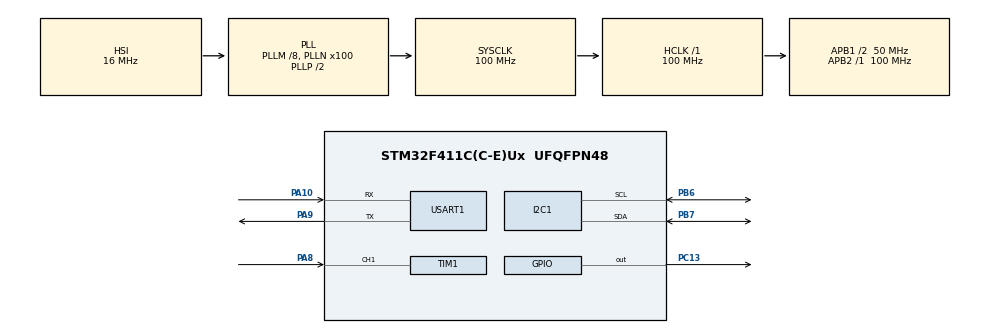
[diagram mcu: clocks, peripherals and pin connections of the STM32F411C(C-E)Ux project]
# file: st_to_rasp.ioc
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FREERTOS.Mutexes01=I2CMutex,Dynamic,NULL
FREERTOS.Tasks01=defaultTask,0,128,StartDefaultTask,Default,NULL,Dynamic,NULL,NULL;IrReadTask,0,128,IRTask_Start,Default,NULL,Dynamic,NULL,NULL;I2CSendTask,0,128,I2CSendTask_Start,Default,NULL,Dynamic,NULL,NULL
FREERTOS.configUSE_NEWLIB_REENTRANT=1
I2C1.OwnAddress=0x10
Mcu.Family=STM32F4
Mcu.Name=STM32F411C(C-E)Ux
Mcu.Package=UFQFPN48
NVIC.I2C1_ER_IRQn=true\:5\:0\:false\:false\:true\:true\:true\:true\:true
NVIC.I2C1_EV_IRQn=true\:5\:0\:false\:false\:true\:true\:true\:true\:true
NVIC.PriorityGroup=NVIC_PRIORITYGROUP_4
NVIC.TIM1_CC_IRQn=true\:5\:0\:false\:false\:true\:true\:true\:true\:true
PA10.Mode=Asynchronous
PA10.Signal=USART1_RX
PA8.Signal=S_TIM1_CH1
PA9.Mode=Asynchronous
PA9.Signal=USART1_TX
PB6.Mode=I2C
PB6.Signal=I2C1_SCL
PB7.Mode=I2C
PB7.Signal=I2C1_SDA
PC13-ANTI_TAMP.Signal=GPIO_Output
ProjectManager.HeapSize=0x200
ProjectManager.StackSize=0x400
ProjectManager.TargetToolchain=STM32CubeIDE
RCC.48MHZClocksFreq_Value=50000000
RCC.AHBFreq_Value=100000000
RCC.APB1CLKDivider=RCC_HCLK_DIV2
RCC.APB1Freq_Value=50000000
RCC.APB1TimFreq_Value=100000000
RCC.APB2Freq_Value=100000000
RCC.APB2TimFreq_Value=100000000
RCC.CortexFreq_Value=100000000
RCC.HCLKFreq_Value=100000000
RCC.HSE_VALUE=25000000
RCC.HSI_VALUE=16000000
RCC.LSE_VALUE=32768
RCC.PLLM=8
RCC.PLLN=100
RCC.SYSCLKFreq_VALUE=100000000
RCC.SYSCLKSource=RCC_SYSCLKSOURCE_PLLCLK
RCC.VCOOutputFreq_Value=200000000
SH.S_TIM1_CH1.0=TIM1_CH1,Input_Capture1_from_TI1
TIM1.Channel-Input_Capture1_from_TI1=TIM_CHANNEL_1
TIM1.Prescaler=10000-1
USART1.VirtualMode=VM_ASYNC
VP_FREERTOS_VS_CMSIS_V1.Mode=CMSIS_V1
VP_TIM1_VS_ClockSourceINT.Mode=Internal
board=custom

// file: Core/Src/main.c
/* USER CODE BEGIN Header */
/**
  ******************************************************************************
  * @file           : main.c
  * @brief          : Main program body
  ******************************************************************************
  * @attention
  *
  * Copyright (c) 2023 STMicroelectronics.
  * All rights reserved.
  *
  * This software is licensed under terms that can be found in the LICENSE file
  * in the root directory of this software component.
  * If no LICENSE file comes with this software, it is provided AS-IS.
  *
  ******************************************************************************
  */
/* USER CODE END Header */
#include "main.h"
#include "cmsis_os.h"

I2C_HandleTypeDef hi2c1;

TIM_HandleTypeDef htim1;

UART_HandleTypeDef huart1;

osThreadId defaultTaskHandle;
osThreadId IrReadTaskHandle;
osThreadId I2CSendTaskHandle;
osMutexId I2CMutexHandle;
/* USER CODE BEGIN PV */
#define TXBUFFSIZE 1
volatile uint8_t rx_buff;
uint8_t tx_buff=0;
uint8_t erro=0;
uint32_t timerCount=0;
uint32_t ledState=0;

HAL_StatusTypeDef sig = 0x0;
void ResetI2C(I2C_HandleTypeDef* rev_i2c){
	HAL_I2C_DeInit(rev_i2c);
	HAL_I2C_Init(rev_i2c);
}

/* USER CODE END PV */

void SystemClock_Config(void);
static void MX_GPIO_Init(void);
static void MX_USART1_UART_Init(void);
static void MX_I2C1_Init(void);
static void MX_TIM1_Init(void);
void StartDefaultTask(void const * argument);
void IRTask_Start(void const * argument);
void I2CSendTask_Start(void const * argument);

int main(void)
{

  /* MCU Configuration--------------------------------------------------------*/

  /* Reset of all peripherals, Initializes the Flash interface and the Systick. */
  HAL_Init();

  /* Configure the system clock */
  SystemClock_Config();

  /* Initialize all configured peripherals */
  MX_GPIO_Init();
  MX_USART1_UART_Init();
  MX_I2C1_Init();
  MX_TIM1_Init();

  /* Create the mutex(es) */
  /* definition and creation of I2CMutex */
  osMutexDef(I2CMutex);
  I2CMutexHandle = osMutexCreate(osMutex(I2CMutex));

  /* Create the thread(s) */
  /* definition and creation of defaultTask */
  osThreadDef(defaultTask, StartDefaultTask, osPriorityNormal, 0, 128);
  defaultTaskHandle = osThreadCreate(osThread(defaultTask), NULL);

  /* definition and creation of IrReadTask */
  osThreadDef(IrReadTask, IRTask_Start, osPriorityNormal, 0, 128);
  IrReadTaskHandle = osThreadCreate(osThread(IrReadTask), NULL);

  /* definition and creation of I2CSendTask */
  osThreadDef(I2CSendTask, I2CSendTask_Start, osPriorityNormal, 0, 128);
  I2CSendTaskHandle = osThreadCreate(osThread(I2CSendTask), NULL);

  /* Start scheduler */
  osKernelStart();

  /* We should never get here as control is now taken by the scheduler */
  /* Infinite loop */
  while (1)
  {

  }
}

void SystemClock_Config(void)
{
  RCC_OscInitTypeDef RCC_OscInitStruct = {0};
  RCC_ClkInitTypeDef RCC_ClkInitStruct = {0};

  /** Configure the main internal regulator output voltage
  */
  __HAL_RCC_PWR_CLK_ENABLE();
  __HAL_PWR_VOLTAGESCALING_CONFIG(PWR_REGULATOR_VOLTAGE_SCALE1);

  /** Initializes the RCC Oscillators according to the specified parameters
  * in the RCC_OscInitTypeDef structure.
  */
  RCC_OscInitStruct.OscillatorType = RCC_OSCILLATORTYPE_HSI;
  RCC_OscInitStruct.HSIState = RCC_HSI_ON;
  RCC_OscInitStruct.HSICalibrationValue = RCC_HSICALIBRATION_DEFAULT;
  RCC_OscInitStruct.PLL.PLLState = RCC_PLL_ON;
  RCC_OscInitStruct.PLL.PLLSource = RCC_PLLSOURCE_HSI;
  RCC_OscInitStruct.PLL.PLLM = 8;
  RCC_OscInitStruct.PLL.PLLN = 100;
  RCC_OscInitStruct.PLL.PLLP = RCC_PLLP_DIV2;
  RCC_OscInitStruct.PLL.PLLQ = 4;
  if (HAL_RCC_OscConfig(&RCC_OscInitStruct) != HAL_OK)
  {
    Error_Handler();
  }

  /** Initializes the CPU, AHB and APB buses clocks
  */
  RCC_ClkInitStruct.ClockType = RCC_CLOCKTYPE_HCLK|RCC_CLOCKTYPE_SYSCLK
                              |RCC_CLOCKTYPE_PCLK1|RCC_CLOCKTYPE_PCLK2;
  RCC_ClkInitStruct.SYSCLKSource = RCC_SYSCLKSOURCE_PLLCLK;
  RCC_ClkInitStruct.AHBCLKDivider = RCC_SYSCLK_DIV1;
  RCC_ClkInitStruct.APB1CLKDivider = RCC_HCLK_DIV2;
  RCC_ClkInitStruct.APB2CLKDivider = RCC_HCLK_DIV1;

  if (HAL_RCC_ClockConfig(&RCC_ClkInitStruct, FLASH_LATENCY_3) != HAL_OK)
  {
    Error_Handler();
  }
}

static void MX_I2C1_Init(void)
{

  hi2c1.Instance = I2C1;
  hi2c1.Init.ClockSpeed = 100000;
  hi2c1.Init.DutyCycle = I2C_DUTYCYCLE_2;
  hi2c1.Init.OwnAddress1 = 32;
  hi2c1.Init.AddressingMode = I2C_ADDRESSINGMODE_7BIT;
  hi2c1.Init.DualAddressMode = I2C_DUALADDRESS_DISABLE;
  hi2c1.Init.OwnAddress2 = 0;
  hi2c1.Init.GeneralCallMode = I2C_GENERALCALL_DISABLE;
  hi2c1.Init.NoStretchMode = I2C_NOSTRETCH_DISABLE;
  if (HAL_I2C_Init(&hi2c1) != HAL_OK)
  {
    Error_Handler();
  }

}

static void MX_TIM1_Init(void)
{

  TIM_ClockConfigTypeDef sClockSourceConfig = {0};
  TIM_MasterConfigTypeDef sMasterConfig = {0};
  TIM_IC_InitTypeDef sConfigIC = {0};

  htim1.Instance = TIM1;
  htim1.Init.Prescaler = 10000-1;
  htim1.Init.CounterMode = TIM_COUNTERMODE_UP;
  htim1.Init.Period = 65535;
  htim1.Init.ClockDivision = TIM_CLOCKDIVISION_DIV1;
  htim1.Init.RepetitionCounter = 0;
  htim1.Init.AutoReloadPreload = TIM_AUTORELOAD_PRELOAD_DISABLE;
  if (HAL_TIM_Base_Init(&htim1) != HAL_OK)
  {
    Error_Handler();
  }
  sClockSourceConfig.ClockSource = TIM_CLOCKSOURCE_INTERNAL;
  if (HAL_TIM_ConfigClockSource(&htim1, &sClockSourceConfig) != HAL_OK)
  {
    Error_Handler();
  }
  if (HAL_TIM_IC_Init(&htim1) != HAL_OK)
  {
    Error_Handler();
  }
  sMasterConfig.MasterOutputTrigger = TIM_TRGO_RESET;
  sMasterConfig.MasterSlaveMode = TIM_MASTERSLAVEMODE_DISABLE;
  if (HAL_TIMEx_MasterConfigSynchronization(&htim1, &sMasterConfig) != HAL_OK)
  {
    Error_Handler();
  }
  sConfigIC.ICPolarity = TIM_INPUTCHANNELPOLARITY_RISING;
  sConfigIC.ICSelection = TIM_ICSELECTION_DIRECTTI;
  sConfigIC.ICPrescaler = TIM_ICPSC_DIV1;
  sConfigIC.ICFilter = 0;
  if (HAL_TIM_IC_ConfigChannel(&htim1, &sConfigIC, TIM_CHANNEL_1) != HAL_OK)
  {
    Error_Handler();
  }

}

static void MX_USART1_UART_Init(void)
{

  huart1.Instance = USART1;
  huart1.Init.BaudRate = 115200;
  huart1.Init.WordLength = UART_WORDLENGTH_8B;
  huart1.Init.StopBits = UART_STOPBITS_1;
  huart1.Init.Parity = UART_PARITY_NONE;
  huart1.Init.Mode = UART_MODE_TX_RX;
  huart1.Init.HwFlowCtl = UART_HWCONTROL_NONE;
  huart1.Init.OverSampling = UART_OVERSAMPLING_16;
  if (HAL_UART_Init(&huart1) != HAL_OK)
  {
    Error_Handler();
  }

}

static void MX_GPIO_Init(void)
{
  GPIO_InitTypeDef GPIO_InitStruct = {0};

  /* GPIO Ports Clock Enable */
  __HAL_RCC_GPIOC_CLK_ENABLE();
  __HAL_RCC_GPIOA_CLK_ENABLE();
  __HAL_RCC_GPIOB_CLK_ENABLE();

  /*Configure GPIO pin Output Level */
  HAL_GPIO_WritePin(GPIOC, GPIO_PIN_13, GPIO_PIN_RESET);

  /*Configure GPIO pin : PC13 */
  GPIO_InitStruct.Pin = GPIO_PIN_13;
  GPIO_InitStruct.Mode = GPIO_MODE_OUTPUT_PP;
  GPIO_InitStruct.Pull = GPIO_NOPULL;
  GPIO_InitStruct.Speed = GPIO_SPEED_FREQ_LOW;
  HAL_GPIO_Init(GPIOC, &GPIO_InitStruct);

}

void StartDefaultTask(void const * argument)
{
  for(;;)
  {
    osDelay(1);
  }
}

void IRTask_Start(void const * argument)
{
  /* USER CODE BEGIN IRTask_Start */
  /* Infinite loop */
  for(;;)
  {
	xSemaphoreTake(I2CMutexHandle, portMAX_DELAY);
	if (HAL_GPIO_ReadPin(GPIOC, GPIO_PIN_13)== 0){
		tx_buff=1;
	}
	else{
		tx_buff=0;
	}
	xSemaphoreGive(I2CMutexHandle);
    osDelay(20);
  }
  /* USER CODE END IRTask_Start */
}

void I2CSendTask_Start(void const * argument)
{
  /* USER CODE BEGIN I2CSendTask_Start */
  /* Infinite loop */
  for(;;)
  {
	if((sig = HAL_I2C_Slave_Receive(&hi2c1, (uint8_t*)&rx_buff, TXBUFFSIZE, 0xFFFFFFFF)) != HAL_OK){
		ResetI2C(&hi2c1);
	}
	if ((sig == HAL_OK)){
		if((sig = HAL_I2C_Slave_Receive(&hi2c1, (uint8_t*)&tx_buff, TXBUFFSIZE, 0x01)) != HAL_OK){
			ResetI2C(&hi2c1);
		}
		else if(rx_buff ==0x02){
			rx_buff = 0;
			xSemaphoreTake(I2CMutexHandle, portMAX_DELAY);
			HAL_I2C_Slave_Transmit(&hi2c1, (uint8_t*)&tx_buff, TXBUFFSIZE,0x01);
			xSemaphoreGive(I2CMutexHandle);
		}
    osDelay(20);
	}
  /* USER CODE END I2CSendTask_Start */
}

void Error_Handler(void)
{
  __disable_irq();
  while (1)
  {
  }
}
}
